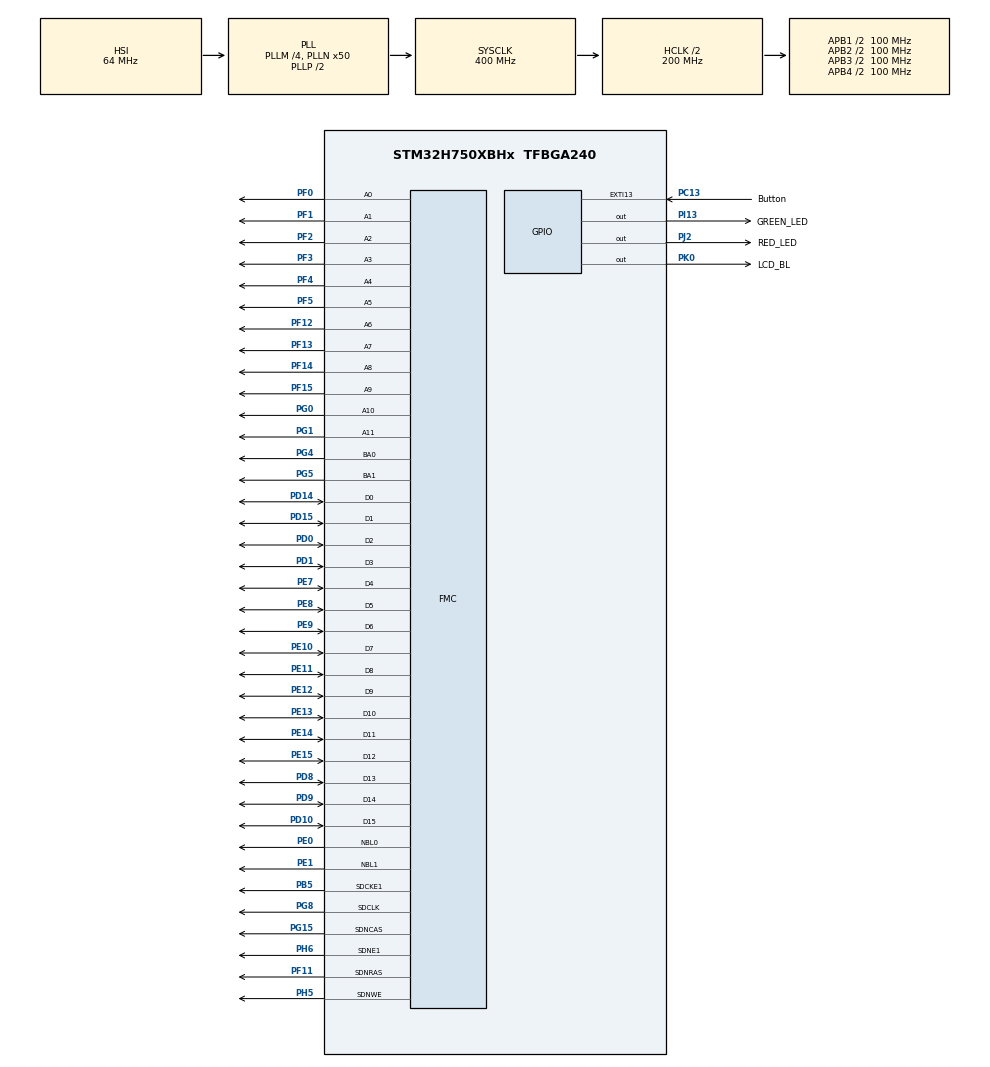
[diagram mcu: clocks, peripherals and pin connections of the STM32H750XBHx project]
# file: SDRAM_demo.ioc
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CORTEX_M7.CPU_DCache=Enabled
CORTEX_M7.CPU_ICache=Enabled
FMC.BankMapConfig=FMC_SWAPBMAP_SDRAM_SRAM
FMC.CASLatency1=FMC_SDRAM_CAS_LATENCY_3
FMC.ExitSelfRefreshDelay1=7
FMC.LoadToActiveDelay1=2
FMC.RCDDelay1=2
FMC.RPDelay1=2
FMC.RPDelay2=2
FMC.ReadBurst1=FMC_SDRAM_RBURST_ENABLE
FMC.ReadBurst2=FMC_SDRAM_RBURST_ENABLE
FMC.RowCycleDelay1=7
FMC.RowCycleDelay2=7
FMC.SDClockPeriod1=FMC_SDRAM_CLOCK_PERIOD_2
FMC.SDClockPeriod2=FMC_SDRAM_CLOCK_PERIOD_2
FMC.SelfRefreshTime1=4
FMC.WriteRecoveryTime1=3
Mcu.Family=STM32H7
Mcu.Name=STM32H750XBHx
Mcu.Package=TFBGA240
NVIC.EXTI15_10_IRQn=true\:0\:0\:false\:false\:true\:true\:true\:true
NVIC.PriorityGroup=NVIC_PRIORITYGROUP_4
PB5.Mode=SdramChipSelect2_1
PB5.Signal=FMC_SDCKE1
PC13.GPIO_Label=Button
PC13.Signal=GPXTI13
PD0.Signal=FMC_D2_DA2
PD1.Signal=FMC_D3_DA3
PD10.Signal=FMC_D15_DA15
PD14.Signal=FMC_D0_DA0
PD15.Signal=FMC_D1_DA1
PD8.Signal=FMC_D13_DA13
PD9.Signal=FMC_D14_DA14
PE0.Signal=FMC_NBL0
PE1.Signal=FMC_NBL1
PE10.Signal=FMC_D7_DA7
PE11.Signal=FMC_D8_DA8
PE12.Signal=FMC_D9_DA9
PE13.Signal=FMC_D10_DA10
PE14.Signal=FMC_D11_DA11
PE15.Signal=FMC_D12_DA12
PE7.Signal=FMC_D4_DA4
PE8.Signal=FMC_D5_DA5
PE9.Signal=FMC_D6_DA6
PF0.Signal=FMC_A0
PF1.Signal=FMC_A1
PF11.Signal=FMC_SDNRAS
PF12.Signal=FMC_A6
PF13.Signal=FMC_A7
PF14.Signal=FMC_A8
PF15.Signal=FMC_A9
PF2.Signal=FMC_A2
PF3.Signal=FMC_A3
PF4.Signal=FMC_A4
PF5.Signal=FMC_A5
PG0.Signal=FMC_A10
PG1.Signal=FMC_A11
PG15.Signal=FMC_SDNCAS
PG4.Signal=FMC_A14_BA0
PG5.Signal=FMC_A15_BA1
PG8.Signal=FMC_SDCLK
PH5.Signal=FMC_SDNWE
PH6.Mode=SdramChipSelect2_1
PH6.Signal=FMC_SDNE1
PI13.GPIO_Label=GREEN_LED
PI13.Signal=GPIO_Output
PJ2.GPIO_Label=RED_LED
PJ2.Signal=GPIO_Output
PK0.GPIO_Label=LCD_BL
PK0.GPIO_PuPd=GPIO_NOPULL
PK0.PinState=GPIO_PIN_RESET
PK0.Signal=GPIO_Output
ProjectManager.HeapSize=0x200
ProjectManager.StackSize=0x400
ProjectManager.TargetToolchain=STM32CubeIDE
RCC.ADCFreq_Value=96000000
RCC.APB1Freq_Value=100000000
RCC.APB2Freq_Value=100000000
RCC.APB3Freq_Value=100000000
RCC.APB4Freq_Value=100000000
RCC.CortexFreq_Value=400000000
RCC.D1PPRE=RCC_APB3_DIV2
RCC.D2PPRE1=RCC_APB1_DIV2
RCC.D2PPRE2=RCC_APB2_DIV2
RCC.D3PPRE=RCC_APB4_DIV2
RCC.DIVM1=4
RCC.DIVM2=2
RCC.DIVN1=50
RCC.DIVN2=12
RCC.DIVP2=4
RCC.DIVQ1=4
RCC.HCLKFreq_Value=200000000
RCC.HPRE=RCC_HCLK_DIV2
RCC.PLL2FRACN=0
RCC.PLL3FRACN=0
RCC.PLLFRACN=0
RCC.PWR_Regulator_Voltage_Scale=PWR_REGULATOR_VOLTAGE_SCALE0
RCC.ProductRev=revV
RCC.SYSCLKFreq_VALUE=400000000
RCC.SYSCLKSource=RCC_SYSCLKSOURCE_PLLCLK
RCC.USBFreq_Value=200000000
SH.FMC_A0.0=FMC_A0,12b-sda1
SH.FMC_A1.0=FMC_A1,12b-sda1
SH.FMC_A10.0=FMC_A10,12b-sda1
SH.FMC_A11.0=FMC_A11,12b-sda1
SH.FMC_A14_BA0.0=FMC_BA0,FourSdramBanks1
SH.FMC_A15_BA1.0=FMC_BA1,FourSdramBanks1
SH.FMC_A2.0=FMC_A2,12b-sda1
SH.FMC_A3.0=FMC_A3,12b-sda1
SH.FMC_A4.0=FMC_A4,12b-sda1
SH.FMC_A5.0=FMC_A5,12b-sda1
SH.FMC_A6.0=FMC_A6,12b-sda1
SH.FMC_A7.0=FMC_A7,12b-sda1
SH.FMC_A8.0=FMC_A8,12b-sda1
SH.FMC_A9.0=FMC_A9,12b-sda1
SH.FMC_D0_DA0.0=FMC_D0,sd-16b-d1
SH.FMC_D10_DA10.0=FMC_D10,sd-16b-d1
SH.FMC_D11_DA11.0=FMC_D11,sd-16b-d1
SH.FMC_D12_DA12.0=FMC_D12,sd-16b-d1
SH.FMC_D13_DA13.0=FMC_D13,sd-16b-d1
SH.FMC_D14_DA14.0=FMC_D14,sd-16b-d1
SH.FMC_D15_DA15.0=FMC_D15,sd-16b-d1
SH.FMC_D1_DA1.0=FMC_D1,sd-16b-d1
SH.FMC_D2_DA2.0=FMC_D2,sd-16b-d1
SH.FMC_D3_DA3.0=FMC_D3,sd-16b-d1
SH.FMC_D4_DA4.0=FMC_D4,sd-16b-d1
SH.FMC_D5_DA5.0=FMC_D5,sd-16b-d1
SH.FMC_D6_DA6.0=FMC_D6,sd-16b-d1
SH.FMC_D7_DA7.0=FMC_D7,sd-16b-d1
SH.FMC_D8_DA8.0=FMC_D8,sd-16b-d1
SH.FMC_D9_DA9.0=FMC_D9,sd-16b-d1
SH.FMC_NBL0.0=FMC_NBL0,Sd2ByteEnable1
SH.FMC_NBL1.0=FMC_NBL1,Sd2ByteEnable1
SH.FMC_SDCLK.0=FMC_SDCLK,12b-sda1
SH.FMC_SDNCAS.0=FMC_SDNCAS,12b-sda1
SH.FMC_SDNRAS.0=FMC_SDNRAS,12b-sda1
SH.FMC_SDNWE.0=FMC_SDNWE,12b-sda1
board=STM32H750B-DK

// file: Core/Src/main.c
/* USER CODE BEGIN Header */
/**
  ******************************************************************************
  * @file           : main.c
  * @brief          : Main program body
  ******************************************************************************
  * @attention
  *
  * Copyright (c) 2022 STMicroelectronics.
  * All rights reserved.
  *
  * This software is licensed under terms that can be found in the LICENSE file
  * in the root directory of this software component.
  * If no LICENSE file comes with this software, it is provided AS-IS.
  *
  ******************************************************************************
  */
/* USER CODE END Header */
#include "main.h"

/* USER CODE BEGIN Includes */
#include "mt48lc4m32b2.h"
#include "string.h"
/* USER CODE END Includes */

SDRAM_HandleTypeDef hsdram1;

/* USER CODE BEGIN PV */
#define SDRAM_BANK_ADDR                 ((uint32_t)0xD0000000)

uint8_t wdata[] = {0x1, 0x2, 0x3, 0x4, 0x5};
uint8_t rdata[10];
/* USER CODE END PV */

void SystemClock_Config(void);
static void MX_GPIO_Init(void);
static void MX_FMC_Init(void);

int main(void)
{

  /* Enable I-Cache---------------------------------------------------------*/
  SCB_EnableICache();

  /* Enable D-Cache---------------------------------------------------------*/
  SCB_EnableDCache();

  /* MCU Configuration--------------------------------------------------------*/

  /* Reset of all peripherals, Initializes the Flash interface and the Systick. */
  HAL_Init();

  /* Configure the system clock */
  SystemClock_Config();

  /* Initialize all configured peripherals */
  MX_GPIO_Init();
  MX_FMC_Init();
  /* USER CODE BEGIN 2 */
  memcpy((uint32_t *) SDRAM_BANK_ADDR, wdata, 5);
  memcpy(rdata, (uint32_t *) SDRAM_BANK_ADDR, 5);
  /* USER CODE END 2 */

  /* Infinite loop */
  while (1)
  {

  }
}

void SystemClock_Config(void)
{
  RCC_OscInitTypeDef RCC_OscInitStruct = {0};
  RCC_ClkInitTypeDef RCC_ClkInitStruct = {0};

  /** Supply configuration update enable
  */
  HAL_PWREx_ConfigSupply(PWR_LDO_SUPPLY);

  /** Configure the main internal regulator output voltage
  */
  __HAL_PWR_VOLTAGESCALING_CONFIG(PWR_REGULATOR_VOLTAGE_SCALE1);

  while(!__HAL_PWR_GET_FLAG(PWR_FLAG_VOSRDY)) {}

  __HAL_RCC_SYSCFG_CLK_ENABLE();
  __HAL_PWR_VOLTAGESCALING_CONFIG(PWR_REGULATOR_VOLTAGE_SCALE0);

  while(!__HAL_PWR_GET_FLAG(PWR_FLAG_VOSRDY)) {}

  /** Initializes the RCC Oscillators according to the specified parameters
  * in the RCC_OscInitTypeDef structure.
  */
  RCC_OscInitStruct.OscillatorType = RCC_OSCILLATORTYPE_HSI;
  RCC_OscInitStruct.HSIState = RCC_HSI_DIV1;
  RCC_OscInitStruct.HSICalibrationValue = RCC_HSICALIBRATION_DEFAULT;
  RCC_OscInitStruct.PLL.PLLState = RCC_PLL_ON;
  RCC_OscInitStruct.PLL.PLLSource = RCC_PLLSOURCE_HSI;
  RCC_OscInitStruct.PLL.PLLM = 4;
  RCC_OscInitStruct.PLL.PLLN = 50;
  RCC_OscInitStruct.PLL.PLLP = 2;
  RCC_OscInitStruct.PLL.PLLQ = 4;
  RCC_OscInitStruct.PLL.PLLR = 2;
  RCC_OscInitStruct.PLL.PLLRGE = RCC_PLL1VCIRANGE_3;
  RCC_OscInitStruct.PLL.PLLVCOSEL = RCC_PLL1VCOWIDE;
  RCC_OscInitStruct.PLL.PLLFRACN = 0;
  if (HAL_RCC_OscConfig(&RCC_OscInitStruct) != HAL_OK)
  {
    Error_Handler();
  }

  /** Initializes the CPU, AHB and APB buses clocks
  */
  RCC_ClkInitStruct.ClockType = RCC_CLOCKTYPE_HCLK|RCC_CLOCKTYPE_SYSCLK
                              |RCC_CLOCKTYPE_PCLK1|RCC_CLOCKTYPE_PCLK2
                              |RCC_CLOCKTYPE_D3PCLK1|RCC_CLOCKTYPE_D1PCLK1;
  RCC_ClkInitStruct.SYSCLKSource = RCC_SYSCLKSOURCE_PLLCLK;
  RCC_ClkInitStruct.SYSCLKDivider = RCC_SYSCLK_DIV1;
  RCC_ClkInitStruct.AHBCLKDivider = RCC_HCLK_DIV2;
  RCC_ClkInitStruct.APB3CLKDivider = RCC_APB3_DIV2;
  RCC_ClkInitStruct.APB1CLKDivider = RCC_APB1_DIV2;
  RCC_ClkInitStruct.APB2CLKDivider = RCC_APB2_DIV2;
  RCC_ClkInitStruct.APB4CLKDivider = RCC_APB4_DIV2;

  if (HAL_RCC_ClockConfig(&RCC_ClkInitStruct, FLASH_LATENCY_2) != HAL_OK)
  {
    Error_Handler();
  }
}

/* FMC initialization function */
static void MX_FMC_Init(void)
{

  FMC_SDRAM_TimingTypeDef SdramTiming = {0};

  /** Perform the SDRAM1 memory initialization sequence
  */
  hsdram1.Instance = FMC_SDRAM_DEVICE;
  /* hsdram1.Init */
  hsdram1.Init.SDBank = FMC_SDRAM_BANK2;
  hsdram1.Init.ColumnBitsNumber = FMC_SDRAM_COLUMN_BITS_NUM_8;
  hsdram1.Init.RowBitsNumber = FMC_SDRAM_ROW_BITS_NUM_12;
  hsdram1.Init.MemoryDataWidth = FMC_SDRAM_MEM_BUS_WIDTH_16;
  hsdram1.Init.InternalBankNumber = FMC_SDRAM_INTERN_BANKS_NUM_4;
  hsdram1.Init.CASLatency = FMC_SDRAM_CAS_LATENCY_3;
  hsdram1.Init.WriteProtection = FMC_SDRAM_WRITE_PROTECTION_DISABLE;
  hsdram1.Init.SDClockPeriod = FMC_SDRAM_CLOCK_PERIOD_2;
  hsdram1.Init.ReadBurst = FMC_SDRAM_RBURST_ENABLE;
  hsdram1.Init.ReadPipeDelay = FMC_SDRAM_RPIPE_DELAY_0;
  /* SdramTiming */
  SdramTiming.LoadToActiveDelay = 2;
  SdramTiming.ExitSelfRefreshDelay = 7;
  SdramTiming.SelfRefreshTime = 4;
  SdramTiming.RowCycleDelay = 7;
  SdramTiming.WriteRecoveryTime = 3;
  SdramTiming.RPDelay = 2;
  SdramTiming.RCDDelay = 2;

  if (HAL_SDRAM_Init(&hsdram1, &SdramTiming) != HAL_OK)
  {
    Error_Handler( );
  }

  /* USER CODE BEGIN FMC_Init 2 */
  MT48LC4M32B2_Context_t MT48LC4M32B2;
  MT48LC4M32B2.TargetBank      = FMC_SDRAM_CMD_TARGET_BANK1;  // changeable
  MT48LC4M32B2.RefreshMode     = MT48LC4M32B2_AUTOREFRESH_MODE_CMD;
  MT48LC4M32B2.RefreshRate     = REFRESH_COUNT;
  MT48LC4M32B2.BurstLength     = MT48LC4M32B2_BURST_LENGTH_1;
  MT48LC4M32B2.BurstType       = MT48LC4M32B2_BURST_TYPE_SEQUENTIAL;
  MT48LC4M32B2.CASLatency      = MT48LC4M32B2_CAS_LATENCY_3;   // changeable
  MT48LC4M32B2.OperationMode   = MT48LC4M32B2_OPERATING_MODE_STANDARD;
  MT48LC4M32B2.WriteBurstMode  = MT48LC4M32B2_WRITEBURST_MODE_SINGLE;

  if (MT48LC4M32B2_Init(&hsdram1, &MT48LC4M32B2)!=MT48LC4M32B2_OK)
  {
	  Error_Handler();
  }

  /* USER CODE END FMC_Init 2 */
}

static void MX_GPIO_Init(void)
{
  GPIO_InitTypeDef GPIO_InitStruct = {0};

  /* GPIO Ports Clock Enable */
  __HAL_RCC_GPIOB_CLK_ENABLE();
  __HAL_RCC_GPIOE_CLK_ENABLE();
  __HAL_RCC_GPIOG_CLK_ENABLE();
  __HAL_RCC_GPIOD_CLK_ENABLE();
  __HAL_RCC_GPIOC_CLK_ENABLE();
  __HAL_RCC_GPIOF_CLK_ENABLE();
  __HAL_RCC_GPIOI_CLK_ENABLE();
  __HAL_RCC_GPIOK_CLK_ENABLE();
  __HAL_RCC_GPIOH_CLK_ENABLE();
  __HAL_RCC_GPIOJ_CLK_ENABLE();

  /*Configure GPIO pin Output Level */
  HAL_GPIO_WritePin(GREEN_LED_GPIO_Port, GREEN_LED_Pin, GPIO_PIN_RESET);

  /*Configure GPIO pin Output Level */
  HAL_GPIO_WritePin(LCD_BL_GPIO_Port, LCD_BL_Pin, GPIO_PIN_RESET);

  /*Configure GPIO pin Output Level */
  HAL_GPIO_WritePin(RED_LED_GPIO_Port, RED_LED_Pin, GPIO_PIN_RESET);

  /*Configure GPIO pin : Button_Pin */
  GPIO_InitStruct.Pin = Button_Pin;
  GPIO_InitStruct.Mode = GPIO_MODE_IT_RISING;
  GPIO_InitStruct.Pull = GPIO_NOPULL;
  HAL_GPIO_Init(Button_GPIO_Port, &GPIO_InitStruct);

  /*Configure GPIO pin : GREEN_LED_Pin */
  GPIO_InitStruct.Pin = GREEN_LED_Pin;
  GPIO_InitStruct.Mode = GPIO_MODE_OUTPUT_PP;
  GPIO_InitStruct.Pull = GPIO_NOPULL;
  GPIO_InitStruct.Speed = GPIO_SPEED_FREQ_LOW;
  HAL_GPIO_Init(GREEN_LED_GPIO_Port, &GPIO_InitStruct);

  /*Configure GPIO pin : LCD_BL_Pin */
  GPIO_InitStruct.Pin = LCD_BL_Pin;
  GPIO_InitStruct.Mode = GPIO_MODE_OUTPUT_PP;
  GPIO_InitStruct.Pull = GPIO_NOPULL;
  GPIO_InitStruct.Speed = GPIO_SPEED_FREQ_LOW;
  HAL_GPIO_Init(LCD_BL_GPIO_Port, &GPIO_InitStruct);

  /*Configure GPIO pin : RED_LED_Pin */
  GPIO_InitStruct.Pin = RED_LED_Pin;
  GPIO_InitStruct.Mode = GPIO_MODE_OUTPUT_PP;
  GPIO_InitStruct.Pull = GPIO_NOPULL;
  GPIO_InitStruct.Speed = GPIO_SPEED_FREQ_LOW;
  HAL_GPIO_Init(RED_LED_GPIO_Port, &GPIO_InitStruct);

  /* EXTI interrupt init*/
  HAL_NVIC_SetPriority(EXTI15_10_IRQn, 0, 0);
  HAL_NVIC_EnableIRQ(EXTI15_10_IRQn);

}

/* USER CODE BEGIN 4 */
/**
  * @brief  EXTI line detection callback.
  * @param  GPIO_Pin: Specifies the port pin connected to corresponding EXTI line.
  * @retval None
  */
void HAL_GPIO_EXTI_Callback(uint16_t GPIO_Pin)
{
	if(GPIO_Pin == GPIO_PIN_13) {
		HAL_GPIO_TogglePin(GREEN_LED_GPIO_Port, GREEN_LED_Pin);
		HAL_GPIO_TogglePin(RED_LED_GPIO_Port, RED_LED_Pin);
	}
}
/* USER CODE END 4 */

void Error_Handler(void)
{
  __disable_irq();
  while (1)
  {
  }
}
